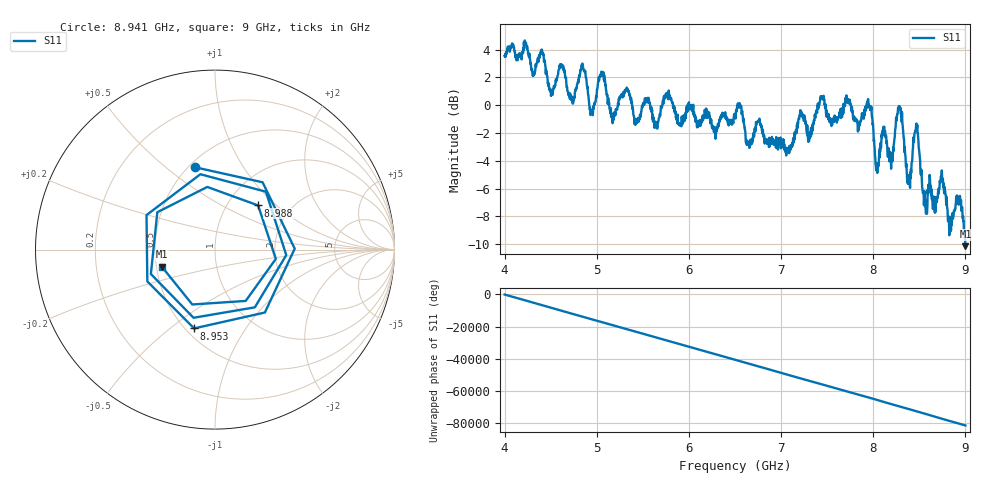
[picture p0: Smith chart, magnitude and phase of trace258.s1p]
! Created with skrf 1.8.0 (http://scikit-rf.org).
# Hz S RI R 50.0
!freq ReS11 ImS11
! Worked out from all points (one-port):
!   1601 points, 4 GHz to 9 GHz, reference 50 ohm
!   lowest |S11| = -10.1 dB at 9 GHz (marker M1), VSWR 1.90, Z = 26.8 - j5.68 ohm
!   |S11| at or under -10 dB: 8.999181 GHz to end of sweep
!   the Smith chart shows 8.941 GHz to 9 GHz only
!   S11 on the Smith chart (normalised r, x): 8.941 GHz: 0.54, +0.64; 8.953 GHz: 0.55, -0.61; 8.988 GHz: 1.38, +0.77; 9 GHz: 0.54, -0.11
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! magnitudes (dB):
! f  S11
! 4 GHz  3.5
! 4.4 GHz  3.9
! 4.509 GHz  0.7
! 4.625 GHz  2.8
! 4.731 GHz  0.5
! 4.853 GHz  2.7
! 4.941 GHz  -0.6
! 5.05 GHz  2.4
! 5.162 GHz  -0.6
! 5.25 GHz  0.6
! 5.875 GHz  -1.3
! 6.5 GHz  -0.7
! 6.65 GHz  -2.8
! 7.125 GHz  -2.9
! 7.444 GHz  0.6
! 7.75 GHz  0.1
! 7.956 GHz  0.0
! 8.044 GHz  -4.9
! 8.116 GHz  -1.7
! 8.2 GHz  -3.5
! 8.288 GHz  -0.3
! 8.375 GHz  -5.7
! 8.462 GHz  -1.7
! 8.562 GHz  -7.3
! 8.941 GHz  -6.5
! 8.953 GHz  -6.9
! 8.988 GHz  -9.3
! 9 GHz  -10.1
